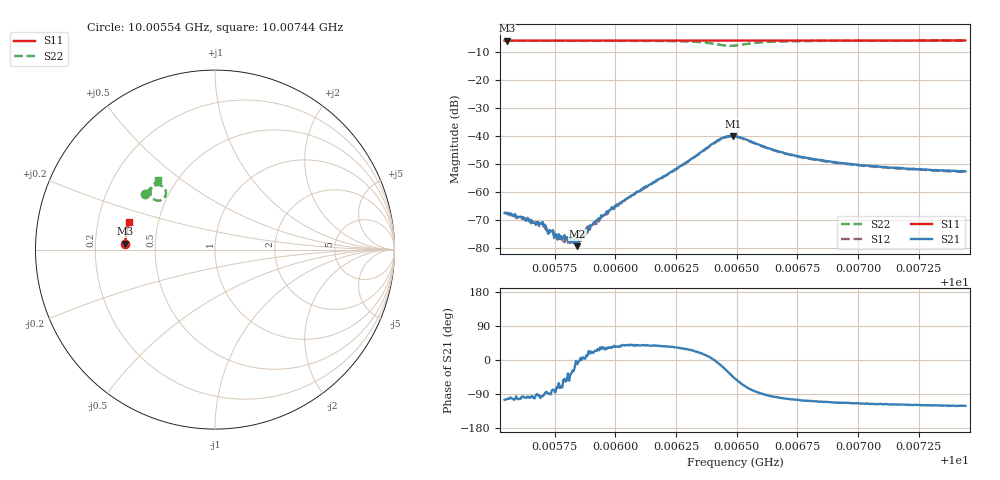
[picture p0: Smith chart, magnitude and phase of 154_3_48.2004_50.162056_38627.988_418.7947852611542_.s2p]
#  HZ  S  RI  R  50.00
! Rohde & Schwarz Vector Network Analyzer
! Rohde-Schwarz,ZNB20-2Port,1311601062101988,3.16
! Created: UTC 3/20/2024, 11:42:57 AM
! freq[Hz]  re:S11  im:S11  re:S21  im:S21  re:S12  im:S12  re:S22  im:S22
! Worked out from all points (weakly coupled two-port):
!   401 points, 10.00554 GHz to 10.00744 GHz, reference 50 ohm
!   highest |S21| = -39.99 dB at 10.00648 GHz (marker M1); lowest = -79.3 dB at 10.00584 GHz (marker M2)
!   lowest |S11| = -6.0 dB at 10.00555 GHz (marker M3), VSWR 3.00, Z = 16.7 + j1.49 ohm
!   |S11| at or under -10 dB: nowhere
!   |S22| runs from -7.9 to -6.0 dB; largest |S21 - S12| = 0.00062
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1.0005543e10  -0.4997 0.0327  -0.000111 -0.000408  -8.42e-05 -0.000432  -0.3882 0.31
1.0005552e10  -0.4995 0.0335  -9.5e-05 -0.000401  -8.52e-05 -0.000401  -0.3878 0.3105
1.0005671e10  -0.4992 0.0412  -1.79e-05 -0.00026  -1.94e-05 -0.00029  -0.3823 0.3177
1.0005704e10  -0.4991 0.0434  -1.13e-05 -0.000242  2.57e-05 -0.000264  -0.3807 0.3198
1.0005714e10  -0.4991 0.044  2.47e-05 -0.00024  1.52e-05 -0.00021  -0.3803 0.3204
1.0005752e10  -0.4991 0.0465  1.28e-05 -0.000177  2.88e-05 -0.000158  -0.3783 0.3228
1.0005795e10  -0.4988 0.0492  8.29e-05 -0.000128  9.25e-05 -0.000117  -0.376 0.3254
1.0005823e10  -0.4987 0.0511  0.000112 -5.8e-05  0.000115 -4.54e-05  -0.3745 0.3272
1.0005842e10  -0.4984 0.0524  0.000106 -2.1e-05  0.00013 -5.93e-05  -0.3733 0.3284
1.0005852e10  -0.4986 0.0528  0.000138 -4.48e-06  0.000145 1.91e-05  -0.3728 0.329
1.0005861e10  -0.4984 0.0535  0.000172 1.29e-06  0.000183 2.22e-05  -0.3724 0.3297
1.0005904e10  -0.4983 0.0563  0.000242 8.32e-05  0.000225 0.000115  -0.3696 0.3325
1.0005975e10  -0.4978 0.0609  0.0004 0.000249  0.000367 0.000285  -0.3651 0.3372
1.0006075e10  -0.4971 0.0675  0.000683 0.00057  0.000669 0.000586  -0.3573 0.3444
1.0006179e10  -0.4964 0.0742  0.00136 0.00104  0.00126 0.00105  -0.3457 0.3523
1.0006427e10  -0.4934 0.0899  0.00841 -0.00142  0.00827 -0.000967  -0.2738 0.325
1.0006484e10  -0.4928 0.093  0.00723 -0.00693  0.00742 -0.00637  -0.2948 0.2783
1.0006493e10  -0.4928 0.0935  0.00646 -0.00752  0.00675 -0.007  -0.3028 0.2747
1.0006674e10  -0.4918 0.105  -0.000815 -0.00523  -0.000577 -0.00515  -0.3596 0.3213
1.0006811e10  -0.4902 0.114  -0.00124 -0.00373  -0.00106 -0.00369  -0.3537 0.3431
1.000713e10  -0.4857 0.134  -0.00125 -0.00241  -0.00112 -0.00244  -0.3361 0.369
1.0007443e10  -0.4807 0.1537  -0.0012 -0.002  -0.00109 -0.002  -0.3197 0.3867
